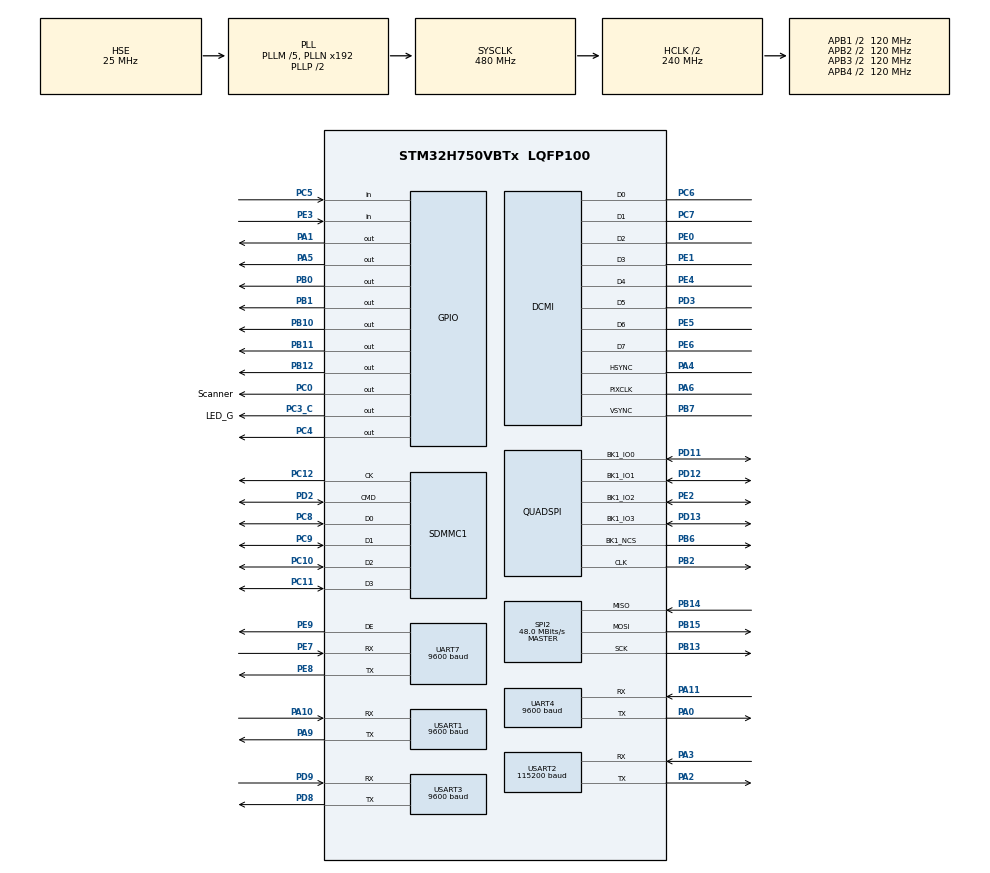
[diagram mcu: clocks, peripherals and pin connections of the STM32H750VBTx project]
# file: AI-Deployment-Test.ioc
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CORTEX_M7.CPU_DCache=Enabled
CORTEX_M7.CPU_ICache=Enabled
DCMI.JPEGMode=DCMI_JPEG_ENABLE
DCMI.PCKPolarity=DCMI_PCKPOLARITY_RISING
Dma.DCMI.0.Direction=DMA_PERIPH_TO_MEMORY
Dma.DCMI.0.EventEnable=DISABLE
Dma.DCMI.0.FIFOMode=DMA_FIFOMODE_ENABLE
Dma.DCMI.0.FIFOThreshold=DMA_FIFO_THRESHOLD_FULL
Dma.DCMI.0.Instance=DMA1_Stream1
Dma.DCMI.0.MemBurst=DMA_MBURST_SINGLE
Dma.DCMI.0.MemDataAlignment=DMA_MDATAALIGN_WORD
Dma.DCMI.0.MemInc=DMA_MINC_ENABLE
Dma.DCMI.0.Mode=DMA_CIRCULAR
Dma.DCMI.0.PeriphBurst=DMA_PBURST_SINGLE
Dma.DCMI.0.PeriphDataAlignment=DMA_PDATAALIGN_WORD
Dma.DCMI.0.PeriphInc=DMA_PINC_DISABLE
Dma.DCMI.0.Polarity=HAL_DMAMUX_REQ_GEN_RISING
Dma.DCMI.0.Priority=DMA_PRIORITY_VERY_HIGH
Dma.DCMI.0.RequestNumber=1
Dma.DCMI.0.SignalID=NONE
Dma.DCMI.0.SyncEnable=DISABLE
Dma.DCMI.0.SyncPolarity=HAL_DMAMUX_SYNC_NO_EVENT
Dma.DCMI.0.SyncRequestNumber=1
Dma.DCMI.0.SyncSignalID=NONE
Dma.MEMTOMEM.1.Direction=DMA_MEMORY_TO_MEMORY
Dma.MEMTOMEM.1.EventEnable=DISABLE
Dma.MEMTOMEM.1.FIFOMode=DMA_FIFOMODE_ENABLE
Dma.MEMTOMEM.1.FIFOThreshold=DMA_FIFO_THRESHOLD_FULL
Dma.MEMTOMEM.1.Instance=DMA1_Stream0
Dma.MEMTOMEM.1.MemBurst=DMA_MBURST_SINGLE
Dma.MEMTOMEM.1.MemDataAlignment=DMA_MDATAALIGN_BYTE
Dma.MEMTOMEM.1.MemInc=DMA_MINC_ENABLE
Dma.MEMTOMEM.1.Mode=DMA_NORMAL
Dma.MEMTOMEM.1.PeriphBurst=DMA_PBURST_SINGLE
Dma.MEMTOMEM.1.PeriphDataAlignment=DMA_PDATAALIGN_BYTE
Dma.MEMTOMEM.1.PeriphInc=DMA_PINC_ENABLE
Dma.MEMTOMEM.1.Polarity=HAL_DMAMUX_REQ_GEN_RISING
Dma.MEMTOMEM.1.Priority=DMA_PRIORITY_MEDIUM
Dma.MEMTOMEM.1.RequestNumber=1
Dma.MEMTOMEM.1.SignalID=NONE
Dma.MEMTOMEM.1.SyncEnable=DISABLE
Dma.MEMTOMEM.1.SyncPolarity=HAL_DMAMUX_SYNC_NO_EVENT
Dma.MEMTOMEM.1.SyncRequestNumber=1
Dma.MEMTOMEM.1.SyncSignalID=NONE
Dma.Request0=DCMI
Dma.Request1=MEMTOMEM
Mcu.Family=STM32H7
Mcu.Name=STM32H750VBTx
Mcu.Package=LQFP100
NVIC.DCMI_IRQn=true\:0\:0\:false\:false\:true\:true\:true\:true
NVIC.DMA1_Stream0_IRQn=true\:0\:0\:false\:false\:true\:false\:true\:true
NVIC.DMA1_Stream1_IRQn=true\:0\:0\:false\:false\:true\:false\:true\:true
NVIC.PriorityGroup=NVIC_PRIORITYGROUP_4
NVIC.SDMMC1_IRQn=true\:0\:0\:false\:false\:true\:true\:true\:true
NVIC.UART4_IRQn=true\:0\:0\:false\:false\:true\:true\:true\:true
NVIC.UART7_IRQn=true\:0\:0\:false\:false\:true\:true\:true\:true
NVIC.USART1_IRQn=true\:0\:0\:false\:false\:true\:true\:true\:true
NVIC.USART2_IRQn=true\:0\:0\:false\:false\:true\:true\:true\:true
NVIC.USART3_IRQn=true\:0\:0\:false\:false\:true\:true\:true\:true
PA0.Mode=Asynchronous
PA0.Signal=UART4_TX
PA1.GPIO_PuPd=GPIO_PULLUP
PA1.GPIO_Speed=GPIO_SPEED_FREQ_VERY_HIGH
PA1.PinState=GPIO_PIN_SET
PA1.Signal=GPIO_Output
PA10.Mode=Asynchronous
PA10.Signal=USART1_RX
PA11.Mode=Asynchronous
PA11.Signal=UART4_RX
PA13\ (JTMS/SWDIO).Mode=Serial_Wire
PA13\ (JTMS/SWDIO).Signal=DEBUG_JTMS-SWDIO
PA14\ (JTCK/SWCLK).Mode=Serial_Wire
PA14\ (JTCK/SWCLK).Signal=DEBUG_JTCK-SWCLK
PA2.Mode=Asynchronous
PA2.Signal=USART2_TX
PA3.Mode=Asynchronous
PA3.Signal=USART2_RX
PA4.GPIO_PuPd=GPIO_PULLUP
PA4.GPIO_Speed=GPIO_SPEED_FREQ_VERY_HIGH
PA4.Mode=Slave_8_bits_External_Synchro
PA4.Signal=DCMI_HSYNC
PA5.GPIO_PuPd=GPIO_PULLUP
PA5.GPIO_Speed=GPIO_SPEED_FREQ_VERY_HIGH
PA5.Signal=GPIO_Output
PA6.GPIO_PuPd=GPIO_PULLUP
PA6.GPIO_Speed=GPIO_SPEED_FREQ_VERY_HIGH
PA6.Mode=Slave_8_bits_External_Synchro
PA6.Signal=DCMI_PIXCLK
PA9.Mode=Asynchronous
PA9.Signal=USART1_TX
PB0.GPIO_PuPd=GPIO_PULLUP
PB0.GPIO_Speed=GPIO_SPEED_FREQ_VERY_HIGH
PB0.Signal=GPIO_Output
PB1.GPIO_ModeDefaultOutputPP=GPIO_MODE_OUTPUT_PP
PB1.GPIO_PuPd=GPIO_PULLUP
PB1.GPIO_Speed=GPIO_SPEED_FREQ_VERY_HIGH
PB1.PinState=GPIO_PIN_RESET
PB1.Signal=GPIO_Output
PB10.GPIO_PuPd=GPIO_PULLUP
PB10.GPIO_Speed=GPIO_SPEED_FREQ_VERY_HIGH
PB10.Signal=GPIO_Output
PB11.GPIO_PuPd=GPIO_PULLUP
PB11.GPIO_Speed=GPIO_SPEED_FREQ_VERY_HIGH
PB11.PinState=GPIO_PIN_SET
PB11.Signal=GPIO_Output
PB12.GPIO_PuPd=GPIO_PULLUP
PB12.GPIO_Speed=GPIO_SPEED_FREQ_VERY_HIGH
PB12.PinState=GPIO_PIN_SET
PB12.Signal=GPIO_Output
PB13.GPIO_PuPd=GPIO_PULLUP
PB13.GPIO_Speed=GPIO_SPEED_FREQ_VERY_HIGH
PB13.Mode=Full_Duplex_Master
PB13.Signal=SPI2_SCK
PB14.GPIO_PuPd=GPIO_PULLUP
PB14.GPIO_Speed=GPIO_SPEED_FREQ_VERY_HIGH
PB14.Mode=Full_Duplex_Master
PB14.Signal=SPI2_MISO
PB15.GPIO_PuPd=GPIO_PULLUP
PB15.GPIO_Speed=GPIO_SPEED_FREQ_VERY_HIGH
PB15.Mode=Full_Duplex_Master
PB15.Signal=SPI2_MOSI
PB2.GPIO_PuPd=GPIO_PULLUP
PB2.GPIO_Speed=GPIO_SPEED_FREQ_VERY_HIGH
PB2.Mode=Single Bank 1
PB2.Signal=QUADSPI_CLK
PB6.GPIO_FM6=SYSCFG_PMCR_I2C_PB6_FMP
PB6.GPIO_PuPd=GPIO_PULLUP
PB6.GPIO_Speed=GPIO_SPEED_FREQ_VERY_HIGH
PB6.Mode=Single Bank 1
PB6.Signal=QUADSPI_BK1_NCS
PB7.GPIO_FM7=SYSCFG_PMCR_I2C_PB7_FMP
PB7.GPIO_PuPd=GPIO_PULLUP
PB7.GPIO_Speed=GPIO_SPEED_FREQ_VERY_HIGH
PB7.Mode=Slave_8_bits_External_Synchro
PB7.Signal=DCMI_VSYNC
PC0.GPIO_Label=Scanner
PC0.PinState=GPIO_PIN_RESET
PC0.Signal=GPIO_Output
PC10.GPIO_PuPd=GPIO_PULLUP
PC10.Mode=SD_4_bits_Wide_bus
PC10.Signal=SDMMC1_D2
PC11.GPIO_PuPd=GPIO_PULLUP
PC11.Mode=SD_4_bits_Wide_bus
PC11.Signal=SDMMC1_D3
PC12.GPIO_PuPd=GPIO_PULLUP
PC12.Mode=SD_4_bits_Wide_bus
PC12.Signal=SDMMC1_CK
PC14-OSC32_IN\ (OSC32_IN).Mode=LSE-External-Oscillator
PC14-OSC32_IN\ (OSC32_IN).Signal=RCC_OSC32_IN
PC15-OSC32_OUT\ (OSC32_OUT).Mode=LSE-External-Oscillator
PC15-OSC32_OUT\ (OSC32_OUT).Signal=RCC_OSC32_OUT
PC3_C.GPIO_Label=LED_G
PC3_C.PinState=GPIO_PIN_SET
PC3_C.Signal=GPIO_Output
PC4.GPIO_PuPd=GPIO_PULLUP
PC4.GPIO_Speed=GPIO_SPEED_FREQ_VERY_HIGH
PC4.Signal=GPIO_Output
PC5.GPIO_PuPd=GPIO_PULLUP
PC5.Signal=GPIO_Input
PC6.GPIO_PuPd=GPIO_PULLUP
PC6.GPIO_Speed=GPIO_SPEED_FREQ_VERY_HIGH
PC6.Mode=Slave_8_bits_External_Synchro
PC6.Signal=DCMI_D0
PC7.GPIO_PuPd=GPIO_PULLUP
PC7.GPIO_Speed=GPIO_SPEED_FREQ_VERY_HIGH
PC7.Mode=Slave_8_bits_External_Synchro
PC7.Signal=DCMI_D1
PC8.GPIO_PuPd=GPIO_PULLUP
PC8.Mode=SD_4_bits_Wide_bus
PC8.Signal=SDMMC1_D0
PC9.GPIO_PuPd=GPIO_PULLUP
PC9.Mode=SD_4_bits_Wide_bus
PC9.Signal=SDMMC1_D1
PD11.GPIO_Speed=GPIO_SPEED_FREQ_VERY_HIGH
PD11.Mode=Single Bank 1
PD11.Signal=QUADSPI_BK1_IO0
PD12.GPIO_Speed=GPIO_SPEED_FREQ_VERY_HIGH
PD12.Mode=Single Bank 1
PD12.Signal=QUADSPI_BK1_IO1
PD13.GPIO_PuPd=GPIO_NOPULL
PD13.GPIO_Speed=GPIO_SPEED_FREQ_VERY_HIGH
PD13.Mode=Single Bank 1
PD13.Signal=QUADSPI_BK1_IO3
PD2.GPIO_PuPd=GPIO_PULLUP
PD2.Mode=SD_4_bits_Wide_bus
PD2.Signal=SDMMC1_CMD
PD3.GPIO_PuPd=GPIO_PULLUP
PD3.GPIO_Speed=GPIO_SPEED_FREQ_VERY_HIGH
PD3.Mode=Slave_8_bits_External_Synchro
PD3.Signal=DCMI_D5
PD8.Mode=Asynchronous
PD8.Signal=USART3_TX
PD9.Mode=Asynchronous
PD9.Signal=USART3_RX
PE0.GPIO_PuPd=GPIO_PULLUP
PE0.GPIO_Speed=GPIO_SPEED_FREQ_VERY_HIGH
PE0.Mode=Slave_8_bits_External_Synchro
PE0.Signal=DCMI_D2
PE1.GPIO_PuPd=GPIO_PULLUP
PE1.GPIO_Speed=GPIO_SPEED_FREQ_VERY_HIGH
PE1.Mode=Slave_8_bits_External_Synchro
PE1.Signal=DCMI_D3
PE2.GPIO_Speed=GPIO_SPEED_FREQ_VERY_HIGH
PE2.Mode=Single Bank 1
PE2.Signal=QUADSPI_BK1_IO2
PE3.GPIO_PuPd=GPIO_PULLUP
PE3.Signal=GPIO_Input
PE4.GPIO_PuPd=GPIO_PULLUP
PE4.GPIO_Speed=GPIO_SPEED_FREQ_VERY_HIGH
PE4.Mode=Slave_8_bits_External_Synchro
PE4.Signal=DCMI_D4
PE5.GPIO_PuPd=GPIO_PULLUP
PE5.GPIO_Speed=GPIO_SPEED_FREQ_VERY_HIGH
PE5.Mode=Slave_8_bits_External_Synchro
PE5.Signal=DCMI_D6
PE6.GPIO_PuPd=GPIO_PULLUP
PE6.GPIO_Speed=GPIO_SPEED_FREQ_VERY_HIGH
PE6.Mode=Slave_8_bits_External_Synchro
PE6.Signal=DCMI_D7
PE7.Mode=Asynchronous
PE7.Signal=UART7_RX
PE8.Mode=Asynchronous
PE8.Signal=UART7_TX
PE9.Mode=Hardware Flow Control (RS485)
PE9.Signal=UART7_DE
PH0-OSC_IN\ (PH0).Mode=HSE-External-Oscillator
PH0-OSC_IN\ (PH0).Signal=RCC_OSC_IN
PH1-OSC_OUT\ (PH1).Mode=HSE-External-Oscillator
PH1-OSC_OUT\ (PH1).Signal=RCC_OSC_OUT
ProjectManager.HeapSize=0x800
ProjectManager.StackSize=0x800
ProjectManager.TargetToolchain=MDK-ARM V5.27
QUADSPI.ChipSelectHighTime=QSPI_CS_HIGH_TIME_4_CYCLE
QUADSPI.ClockPrescaler=3
QUADSPI.FifoThreshold=4
QUADSPI.FlashSize=22
QUADSPI.SampleShifting=QSPI_SAMPLE_SHIFTING_HALFCYCLE
RCC.ADCFreq_Value=480000000
RCC.APB1CLKDivider=RCC_HCLK_DIV4
RCC.APB1Freq_Value=120000000
RCC.APB2CLKDivider=RCC_HCLK_DIV2
RCC.APB2Freq_Value=120000000
RCC.APB3Freq_Value=120000000
RCC.APB4Freq_Value=120000000
RCC.CortexFreq_Value=480000000
RCC.D1PPRE=RCC_APB3_DIV2
RCC.D2PPRE1=RCC_APB1_DIV2
RCC.D2PPRE2=RCC_APB2_DIV2
RCC.D3PPRE=RCC_APB4_DIV2
RCC.DIVM1=5
RCC.DIVM2=5
RCC.DIVM3=5
RCC.DIVN1=192
RCC.DIVN2=192
RCC.DIVN3=192
RCC.DIVQ1=5
RCC.FLatency=FLASH_LATENCY_4
RCC.HCLKFreq_Value=240000000
RCC.HPRE=RCC_HCLK_DIV2
RCC.HSE_VALUE=25000000
RCC.PLL2FRACN=0
RCC.PLL3FRACN=0
RCC.PLLFRACN=0
RCC.PLLM=25
RCC.PLLMUL=RCC_PLL_MUL9
RCC.PLLN=432
RCC.PLLQ=9
RCC.PLLSourceVirtual=RCC_PLLSOURCE_HSE
RCC.PRESCALERUSB=RCC_USBCLKSOURCE_PLL_DIV1_5
RCC.PWR_Regulator_Voltage_Scale=PWR_REGULATOR_VOLTAGE_SCALE0
RCC.SYSCLKFreq_VALUE=480000000
RCC.SYSCLKSource=RCC_SYSCLKSOURCE_PLLCLK
RCC.SYSCLKSourceVirtual=RCC_SYSCLKSOURCE_PLLCLK
RCC.USBFreq_Value=192000000
SDMMC1.ClockDiv=4
SPI2.BaudRatePrescaler=SPI_BAUDRATEPRESCALER_4
SPI2.CLKPhase=SPI_PHASE_2EDGE
SPI2.CLKPolarity=SPI_POLARITY_HIGH
SPI2.CalculateBaudRate=48.0 MBits/s
SPI2.DataSize=SPI_DATASIZE_8BIT
SPI2.Direction=SPI_DIRECTION_2LINES
SPI2.MasterInterDataIdleness=SPI_MASTER_INTERDATA_IDLENESS_04CYCLE
SPI2.MasterReceiverAutoSusp=SPI_MASTER_RX_AUTOSUSP_ENABLE
SPI2.MasterSSIdleness=SPI_MASTER_SS_IDLENESS_04CYCLE
SPI2.Mode=SPI_MODE_MASTER
SPI2.NSSPMode=SPI_NSS_PULSE_DISABLE
SPI2.VirtualType=VM_MASTER
STMicroelectronics.X-CUBE-AI.8.1.0.ActivationBufferSizeList=262548
STMicroelectronics.X-CUBE-AI.8.1.0.ActivationBuffers=pool0
STMicroelectronics.X-CUBE-AI.8.1.0.ActivationNames=pool0
STMicroelectronics.X-CUBE-AI.8.1.0.ActivationSizes=AI_NETWORK_DATA_ACTIVATION_1_SIZE
STMicroelectronics.X-CUBE-AI.8.1.0.HeapSize=0x800
STMicroelectronics.X-CUBE-AI.8.1.0.InternalRamActivationBufferMaxSize=AI_NETWORK_DATA_ACTIVATIONS_SIZE
STMicroelectronics.X-CUBE-AI.8.1.0.LatestDirectoryUsed-1cbb15af625708013a037f275c34a999e6ddb6cbe15bb6914422a28e08c87c94=D\:\\GIT Repo\\stm32ai-modelzoo-for-me\\image_classification\\scripts\\training\\outputs\\2024_07_19_01_10_03\\quantized_models
STMicroelectronics.X-CUBE-AI.8.1.0.MaximumNumberOfInputLayer=1
STMicroelectronics.X-CUBE-AI.8.1.0.MaximumNumberOfOutputLayer=1
STMicroelectronics.X-CUBE-AI.8.1.0.MaximumSizeOfInputLayer=1
STMicroelectronics.X-CUBE-AI.8.1.0.MaximumSizeOfOutputLayer=1
STMicroelectronics.X-CUBE-AI.8.1.0.ModelActualCompression-1cbb15af625708013a037f275c34a999e6ddb6cbe15bb6914422a28e08c87c94=0.0
STMicroelectronics.X-CUBE-AI.8.1.0.ModelCompression-1cbb15af625708013a037f275c34a999e6ddb6cbe15bb6914422a28e08c87c94=Lossless
STMicroelectronics.X-CUBE-AI.8.1.0.ModelFlashOccupation-1cbb15af625708013a037f275c34a999e6ddb6cbe15bb6914422a28e08c87c94=535331
STMicroelectronics.X-CUBE-AI.8.1.0.ModelHashList=1cbb15af625708013a037f275c34a999e6ddb6cbe15bb6914422a28e08c87c94
STMicroelectronics.X-CUBE-AI.8.1.0.ModelKind-1cbb15af625708013a037f275c34a999e6ddb6cbe15bb6914422a28e08c87c94=TFLITE
STMicroelectronics.X-CUBE-AI.8.1.0.ModelMacc-1cbb15af625708013a037f275c34a999e6ddb6cbe15bb6914422a28e08c87c94=19103760
STMicroelectronics.X-CUBE-AI.8.1.0.ModelName-1cbb15af625708013a037f275c34a999e6ddb6cbe15bb6914422a28e08c87c94=network
STMicroelectronics.X-CUBE-AI.8.1.0.ModelNameList=network
STMicroelectronics.X-CUBE-AI.8.1.0.ModelRamOccupation-1cbb15af625708013a037f275c34a999e6ddb6cbe15bb6914422a28e08c87c94=262548
STMicroelectronics.X-CUBE-AI.8.1.0.ModelStructureFile-1cbb15af625708013a037f275c34a999e6ddb6cbe15bb6914422a28e08c87c94=D\:\\GIT Repo\\stm32ai-modelzoo-for-me\\image_classification\\scripts\\training\\outputs\\2024_07_19_01_10_03\\quantized_models\\quantized_model.tflite
STMicroelectronics.X-CUBE-AI.8.1.0.ModelType-1cbb15af625708013a037f275c34a999e6ddb6cbe15bb6914422a28e08c87c94=STM32Cube.AI runtime
STMicroelectronics.X-CUBE-AI.8.1.0.ReadyForCodeGeneration=true
STMicroelectronics.X-CUBE-AI.8.1.0.StackSize=0x800
STMicroelectronics.X-CUBE-AI.8.1.0.ValidationInputFileHistory-1cbb15af625708013a037f275c34a999e6ddb6cbe15bb6914422a28e08c87c94=D\:\\GIT Repo\\stm32ai-modelzoo-for-me\\image_classification\\scripts\\training\\my_dataset\\cucumber\\r0_0.jpg
STMicroelectronics.X-CUBE-AI.8.1.0.WorkingBufferStartAddrList=0xFFFFFFFF
STMicroelectronics.X-CUBE-AI.8.1.0.XAaCUBEAaAICcArtificialOoIntelligenceJjCore=true
STMicroelectronics.X-CUBE-AI.8.1.0.copyWeightToRam-1cbb15af625708013a037f275c34a999e6ddb6cbe15bb6914422a28e08c87c94=false
STMicroelectronics.X-CUBE-AI.8.1.0.customLayerConfigEnabled-1cbb15af625708013a037f275c34a999e6ddb6cbe15bb6914422a28e08c87c94=false
STMicroelectronics.X-CUBE-AI.8.1.0.extFlashDriver-1cbb15af625708013a037f275c34a999e6ddb6cbe15bb6914422a28e08c87c94=Custom
STMicroelectronics.X-CUBE-AI.8.1.0.extFlashSize-1cbb15af625708013a037f275c34a999e6ddb6cbe15bb6914422a28e08c87c94=1
STMicroelectronics.X-CUBE-AI.8.1.0.extFlashStartAddr-1cbb15af625708013a037f275c34a999e6ddb6cbe15bb6914422a28e08c87c94=0x8000000
STMicroelectronics.X-CUBE-AI.8.1.0.noOnnxIoTranspose-1cbb15af625708013a037f275c34a999e6ddb6cbe15bb6914422a28e08c87c94=false
STMicroelectronics.X-CUBE-AI.8.1.0.useExternalFlash-1cbb15af625708013a037f275c34a999e6ddb6cbe15bb6914422a28e08c87c94=true
STMicroelectronics.X-CUBE-AI.8.1.0.useInputAllocation-1cbb15af625708013a037f275c34a999e6ddb6cbe15bb6914422a28e08c87c94=true
STMicroelectronics.X-CUBE-AI.8.1.0.useOutputAllocation-1cbb15af625708013a037f275c34a999e6ddb6cbe15bb6914422a28e08c87c94=true
UART4.BaudRate=9600
UART7.BaudRate=9600
USART1.BaudRate=9600
USART1.VirtualMode-Asynchronous=VM_ASYNC
USART2.BaudRate=115200
USART2.VirtualMode-Asynchronous=VM_ASYNC
USART3.BaudRate=9600
USART3.VirtualMode-Asynchronous=VM_ASYNC
VP_CRC_VS_CRC.Mode=CRC_Activate
VP_STMicroelectronics.X-CUBE-AI_VS_ArtificialOoIntelligenceJjXAaCUBEAaAI_8.1.0.Mode=ArtificialOoIntelligenceJjXAaCUBEAaAI
board=custom

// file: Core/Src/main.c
/* USER CODE BEGIN Header */
/**
  ******************************************************************************
  * @file           : main.c
  * @brief          : Main program body
  ******************************************************************************
  * @attention
  *
  * Copyright (c) 2024 STMicroelectronics.
  * All rights reserved.
  *
  * This software is licensed under terms that can be found in the LICENSE file
  * in the root directory of this software component.
  * If no LICENSE file comes with this software, it is provided AS-IS.
  *
  ******************************************************************************
  */
/* USER CODE END Header */
#include "main.h"
#include "crc.h"
#include "dcmi.h"
#include "dma.h"
#include "quadspi.h"
#include "sdmmc.h"
#include "spi.h"
#include "usart.h"
#include "gpio.h"

/* USER CODE BEGIN Includes */
#include "sdmmc_sdcard.h"
#include "lcd.h"
#include "ov5640.h"
#include <w25qxx.h>
#include "text.h"
#include "GBK_LibDrive.h"
#include "OV_Frame.h"
#include "network.h"
#include "network_data_params.h"
#include "network_data.h"

#include "task.h"
#include <string.h>
#include "stdint.h"
#include "stdio.h"
#include "lcd.h"
#include "led.h"
/* USER CODE END Includes */

/* USER CODE BEGIN PD */
#define RGB_Width    128 //根据屏幕方向，设置缓存大小和格式
#define RGB_Height	 128//根据屏幕
#define CHANNELS 3
extern uint8_t USB_STATUS_REG; //USB状态
extern uint8_t  bDeviceState;		//默认没有连接

uint8_t USB_STA;
uint8_t Divece_STA;

uint8_t tct=0;
uint8_t offline_cnt=0;

extern uint8_t  OV_mode;				//bit0:  1,RGB565模式;2,JPEG模式
extern uint16_t Camera_ID;      //摄像头型号ID号
extern uint8_t Print_buf[32];	//消息缓存区

extern uint16_t RGB_DATA[RGB_Height][RGB_Width];

uint8_t  key_F;//键值
/* USER CODE END PD */

/* USER CODE BEGIN PV */
int test=0;
__attribute__((section (".RAM_D2"))) uint8_t se[60]={0x1B,0x40,0x1A,0x5B,0x01,0x00,0x00,0x00,0x00,0xB0,0x01,0x40,0x01,0x00,0x1D,0x48,0x02,0x1A,0x30,0x00,0x50,0x00,0x70,0x00,0x0c,0x45,0x02,0x00,0x31,0x37,0x33,0x36,0x32,0x30,0x33,0x34,0x39,0x33,0x32,0x00,0x1A,0x54,0x01,0x00,0x31,0x35,0x30,0x45,0x72,0x65,0x6E,0x00,0x1A,0x5D,0x00,0x1A,0x4F,0x00,0x1b,0x6d};

__attribute__((section (".RAM_D2"))) uint8_t rx_data[5];     //UART_RX  data
__attribute__((section (".RAM_D2"))) int Mode_Flag=0;        //cash or weight Mode
__attribute__((section (".RAM_D2"))) int Print_Flag=0;       //Mode1
__attribute__((section (".RAM_D2"))) int Pay_Flag=0;         //Mode2
__attribute__((section (".RAM_D2"))) int Scan_Flag=0;        //Scan state
__attribute__((section (".RAM_D2"))) int Judge_Flag=0;        //Scan state
__attribute__((section (".RAM_D2"))) uint16_t Weight=0;      //Weight data
__attribute__((section (".RAM_D2"))) uint16_t Type=0;        //Type data
__attribute__((section (".RAM_D2"))) uint16_t Sig_Money=0;   //sigMoney data
uint16_t Money=0;       //Money data
//char tjcstr[100];
uint16_t ai_result;

/* USER CODE END PV */

void SystemClock_Config(void);
/* USER CODE BEGIN PFP */
static ai_handle network = AI_HANDLE_NULL;

AI_ALIGNED(32)
static ai_u8 activations[AI_NETWORK_DATA_ACTIVATIONS_SIZE];

AI_ALIGNED(32)
static ai_float in_data[AI_NETWORK_IN_1_SIZE];

AI_ALIGNED(32)
__attribute__((section (".RAM_D2"))) static ai_float out_data[AI_NETWORK_OUT_1_SIZE];

static ai_buffer *ai_input;
static ai_buffer *ai_output;

/* USER CODE END PFP */

/* USER CODE BEGIN 0 */

uint8_t Textbuf[32];

/* USER CODE END 0 */

int main(void)
{
/* Enable the CPU Cache */

  /* Enable I-Cache---------------------------------------------------------*/
  SCB_EnableICache();

  /* Enable D-Cache---------------------------------------------------------*/
  SCB_EnableDCache();

  /* MCU Configuration--------------------------------------------------------*/

  /* Reset of all peripherals, Initializes the Flash interface and the Systick. */
  HAL_Init();

  /* Configure the system clock */
  SystemClock_Config();

  /* Initialize all configured peripherals */
  MX_GPIO_Init();
  MX_DMA_Init();
  MX_QUADSPI_Init();
  MX_DCMI_Init();
  MX_SDMMC1_SD_Init();
  MX_USART1_UART_Init();
  MX_CRC_Init();
  MX_SPI2_Init();
  MX_UART4_Init();
  MX_UART7_Init();
  MX_USART2_UART_Init();
  MX_USART3_UART_Init();
  /* USER CODE BEGIN 2 */
HAL_UART_Receive_IT(&huart1,(uint8_t *)&rx_data, 4); //UART1_RX_IT_START
HAL_UART_Receive_IT(&huart4,(uint8_t *)&rx_data, 4); //UART1_RX_IT_START

W25QXX_Init();
LCD_Init();            //初始化2.0寸 240x320 高清屏  LCD显示
//	GBK_Lib_Init();        //硬件GBK字库初始化--(如果使用不带字库的液晶屏版本，此处可以屏蔽，不做字库初始化）
	LCD_Clear(WHITE);      //清屏
	ai_Init();

	HAL_GPIO_WritePin(GPIOA,GPIO_PIN_1,GPIO_PIN_RESET);
	HAL_GPIO_TogglePin(LED_G_GPIO_Port,LED_G_Pin);
	Camera_Init();

	OV_Camera_Demo(1);//set camera
	while(1)
			{  LED2_Toggle;

					 RGB_Refresh_LCD();

						copy_rgb_to_in_data();

						 //aiRun(RGB_DATA, out_data);//I tried both but didn't help
				aiRun(in_data, out_data);
				Start_OV5640_RGB(&hdcmi);  //Start DCMI Snapshot
}
	//copy_rgb_to_in_data();

	//aiRun(in_data, out_data);

  /* USER CODE END 2 */

  /* Infinite loop */
  /* USER CODE BEGIN WHILE */

		if(Mode_Flag==1)
		{
		             	//weight start
			            //if weight>50
			My_delay_ms(1000);
			            //send weight data

			            //Type?
			            //Sig_Money?
			            //Money?
			            //send Data
			//TEST_BEGIN1
		  while(test==0)//TEST
			  ;
			My_delay_ms(100);

			HMISendstart();
//	   sprintf(tjcstr, "n0.val=266");
//	   HMISends(tjcstr);
//	   HMISendb(0xff);
//
//						HMISendstart();
//	   sprintf(tjcstr, "t5.txt=\"苹果\"");
//	   HMISends(tjcstr);
//	   HMISendb(0xff);
//
//									HMISendstart();
//	   sprintf(tjcstr, "n2.val=12");
//	   HMISends(tjcstr);
//	   HMISendb(0xff);

//												HMISendstart();
//	   sprintf(tjcstr, "x0.val=3192");
//	   HMISends(tjcstr);
//	   HMISendb(0xff);

				//TEST_END1
			while (Print_Flag==0)
				;
			if(Print_Flag==1)
 HAL_UART_Transmit(&huart2, se, 60, HAL_MAX_DELAY); // 使用最大延时

			//printf weight&money data
		  while ((__HAL_UART_GET_FLAG(&huart1, UART_FLAG_TC))==0)
			  ;
		         test=0;     //Clear flag

		}

		if(Mode_Flag==2)
{
//      while(Scan_Flag==0)
//        ;				 //wait for scan
			           //weight start
			           //if weight>50

			while( (__HAL_UART_GET_FLAG(&huart1, UART_FLAG_RXNE))==0)
				;
						//TEST_BEGIN2

			My_delay_ms(100);

			HMISendstart();
//	   sprintf(tjcstr, "t2.txt=\"成功识别\"");
//	   HMISends(tjcstr);
//	   HMISendb(0xff);
//
//						HMISendstart();
//	   sprintf(tjcstr, "n0.val=266");
//	   HMISends(tjcstr);
//	   HMISendb(0xff);
//
//									HMISendstart();
//	   sprintf(tjcstr, "t6.txt=\"苹果\"");
//	   HMISends(tjcstr);
//	   HMISendb(0xff);

//												HMISendstart();
//	   sprintf(tjcstr, "n1.val=12");
//	   HMISends(tjcstr);
//	   HMISendb(0xff);
//
//		 												HMISendstart();
//	   sprintf(tjcstr, "x0.val=3192");
//	   HMISends(tjcstr);
//	   HMISendb(0xff);
//
//
//		 												HMISendstart();
//	   sprintf(tjcstr, "t11.txt=\"匹配成功\"");
//	   HMISends(tjcstr);
//	   HMISendb(0xff);

				//TEST_END2

			My_delay_ms(1000);
			           //weight judge

			while(Pay_Flag==1)
				;
				         //send 4Gmodule data

    /* USER CODE END WHILE */

    /* USER CODE BEGIN 3 */
		key_F=KEY_Scan(0); 		//得到键值   //按键扫描测试函数

	  }

  /* USER CODE END 3 */
}

void SystemClock_Config(void)
{
  RCC_OscInitTypeDef RCC_OscInitStruct = {0};
  RCC_ClkInitTypeDef RCC_ClkInitStruct = {0};

  /** Supply configuration update enable
  */
  HAL_PWREx_ConfigSupply(PWR_LDO_SUPPLY);

  /** Configure the main internal regulator output voltage
  */
  __HAL_PWR_VOLTAGESCALING_CONFIG(PWR_REGULATOR_VOLTAGE_SCALE1);

  while(!__HAL_PWR_GET_FLAG(PWR_FLAG_VOSRDY)) {}

  __HAL_RCC_SYSCFG_CLK_ENABLE();
  __HAL_PWR_VOLTAGESCALING_CONFIG(PWR_REGULATOR_VOLTAGE_SCALE0);

  while(!__HAL_PWR_GET_FLAG(PWR_FLAG_VOSRDY)) {}

  /** Initializes the RCC Oscillators according to the specified parameters
  * in the RCC_OscInitTypeDef structure.
  */
  RCC_OscInitStruct.OscillatorType = RCC_OSCILLATORTYPE_HSE;
  RCC_OscInitStruct.HSEState = RCC_HSE_ON;
  RCC_OscInitStruct.PLL.PLLState = RCC_PLL_ON;
  RCC_OscInitStruct.PLL.PLLSource = RCC_PLLSOURCE_HSE;
  RCC_OscInitStruct.PLL.PLLM = 5;
  RCC_OscInitStruct.PLL.PLLN = 192;
  RCC_OscInitStruct.PLL.PLLP = 2;
  RCC_OscInitStruct.PLL.PLLQ = 5;
  RCC_OscInitStruct.PLL.PLLR = 2;
  RCC_OscInitStruct.PLL.PLLRGE = RCC_PLL1VCIRANGE_2;
  RCC_OscInitStruct.PLL.PLLVCOSEL = RCC_PLL1VCOWIDE;
  RCC_OscInitStruct.PLL.PLLFRACN = 0;
  if (HAL_RCC_OscConfig(&RCC_OscInitStruct) != HAL_OK)
  {
    Error_Handler();
  }

  /** Initializes the CPU, AHB and APB buses clocks
  */
  RCC_ClkInitStruct.ClockType = RCC_CLOCKTYPE_HCLK|RCC_CLOCKTYPE_SYSCLK
                              |RCC_CLOCKTYPE_PCLK1|RCC_CLOCKTYPE_PCLK2
                              |RCC_CLOCKTYPE_D3PCLK1|RCC_CLOCKTYPE_D1PCLK1;
  RCC_ClkInitStruct.SYSCLKSource = RCC_SYSCLKSOURCE_PLLCLK;
  RCC_ClkInitStruct.SYSCLKDivider = RCC_SYSCLK_DIV1;
  RCC_ClkInitStruct.AHBCLKDivider = RCC_HCLK_DIV2;
  RCC_ClkInitStruct.APB3CLKDivider = RCC_APB3_DIV2;
  RCC_ClkInitStruct.APB1CLKDivider = RCC_APB1_DIV2;
  RCC_ClkInitStruct.APB2CLKDivider = RCC_APB2_DIV2;
  RCC_ClkInitStruct.APB4CLKDivider = RCC_APB4_DIV2;

  if (HAL_RCC_ClockConfig(&RCC_ClkInitStruct, FLASH_LATENCY_4) != HAL_OK)
  {
    Error_Handler();
  }
}

/* USER CODE BEGIN 4 */
void HAL_UART_RxCpltCallback(UART_HandleTypeDef *huart)
{

	if (huart->Instance == USART1)
{
	HAL_UART_Receive_IT(&huart1,(uint8_t *)&rx_data, 4);
	if((rx_data[0]==1)&&(rx_data[1]==1)&&(rx_data[2]==0)&&(rx_data[3]==1))
  Mode_Flag=1;
	else if((rx_data[0]==1)&&(rx_data[1]==1)&&(rx_data[2]==0)&&(rx_data[3]==2))
	Mode_Flag=2;

	if((rx_data[0]==1)&&(rx_data[1]==1)&&(rx_data[2]==0)&&(rx_data[3]==0)&&((Mode_Flag==1)||(Mode_Flag==2)))
	Mode_Flag=0;

	if((rx_data[0]==1)&&(rx_data[1]==1)&&(rx_data[2]==0)&&(rx_data[3]==3)&&(Mode_Flag==1))
	Print_Flag=1;
	if((rx_data[0]==1)&&(rx_data[1]==1)&&(rx_data[2]==0)&&(rx_data[3]==4)&&(Mode_Flag==2)&&(Judge_Flag==1))
	Pay_Flag=1;
		if((rx_data[0]==1)&&(rx_data[1]==1)&&(rx_data[2]==0)&&(rx_data[3]==9))
 test=1;
}

	if (huart->Instance == UART4)
{
	HAL_UART_Receive_IT(&huart4,(uint8_t *)&rx_data, 4);
if((rx_data[0]==1)&&(rx_data[1]==1)&&(rx_data[2]==0)&&(rx_data[3]==5)&&(Mode_Flag==2))
	Scan_Flag=1;

}

}

/*AI Init*/
int ai_Init(void)
{
	ai_error err;

	const ai_handle acts[] = { activations };
  err = ai_network_create_and_init(&network, acts, NULL);
	if(err.type != AI_ERROR_NONE)
	{
	while(1)
	HAL_GPIO_WritePin(LED_G_GPIO_Port,LED_G_Pin,GPIO_PIN_RESET);
	}

	ai_input = ai_network_inputs_get(network, NULL);
	ai_output = ai_network_outputs_get(network, NULL);

	return 0;
}

/*AI process*/
int aiRun(const void *in_data, void *out_data)
{
	ai_i32 n_batch;
	ai_error err;

	ai_input[0].data = AI_HANDLE_PTR(in_data);
	ai_output[0].data = AI_HANDLE_PTR(out_data);

	n_batch = ai_network_run(network, &ai_input[0], &ai_output[0]);
	if(n_batch != 1)
	{
	err=ai_network_get_error(network);
	};

	return 0;

}
/*RGB preprocess*/
void copy_rgb_to_in_data()
	{
     int index = 0;
    for (int i = 0; i < RGB_Height; i++) {
        for (int j = 0; j < RGB_Width; j++) {
            // separate R G B
            uint16_t pixel = RGB_DATA[i][j];
            uint8_t r = (pixel >> 11) & 0x1F;  // in RGB565
            uint8_t g = (pixel >> 5) & 0x3F;
            uint8_t b = pixel & 0x1F;

            //put RGB to in_data
            if (index < AI_NETWORK_IN_1_SIZE - CHANNELS + 1) {
                in_data[index++] = (ai_float)r / 31.0f;   //turn to float
                in_data[index++] = (ai_float)g / 63.0f;
                in_data[index++] = (ai_float)b / 31.0f;
            } else {
                // if in_data is smaller than RGB_DATA ,break
                break;
            }
        }
        if (index >= AI_NETWORK_IN_1_SIZE - CHANNELS + 1) {
            break;
        }
    }
	}
/* USER CODE END 4 */

void Error_Handler(void)
{
  __disable_irq();
  while (1)
  {
  }
}
